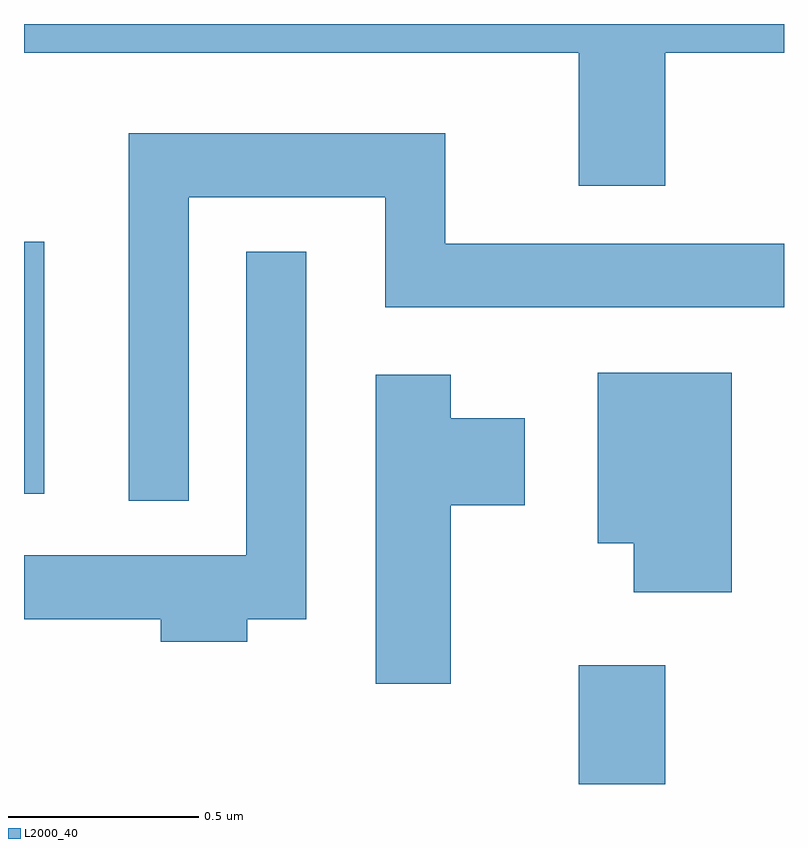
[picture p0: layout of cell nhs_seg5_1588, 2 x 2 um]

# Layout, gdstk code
import gdstk
lib = gdstk.Library(unit=1e-6, precision=1e-09)
def R(c, l, rs):  # rectangles x0, y0, x1, y1
    for r in rs: c.add(gdstk.rectangle(r[:2], r[2:], *l))
def P(c, l, *ps):  # polygons
    for p in ps: c.add(gdstk.Polygon(p, *l))
L2000_40 = (2000, 40)

nhs_seg5_1588 = lib.new_cell('nhs_seg5_1588')
R(nhs_seg5_1588, L2000_40, [(198.071,1477.072,198.299,1477.384), (196.611,1477.836,196.664,1478.499)])
P(nhs_seg5_1588, L2000_40, [(198.299,1478.996),(198.611,1478.996),(198.611,1479.072),(196.611,1479.072),(196.611,1478.996),(198.071,1478.996),(198.071,1478.646),(198.299,1478.646)],
  [(197.044,1478.616),(197.561,1478.616),(197.561,1478.326),(198.611,1478.326),(198.611,1478.494),(197.719,1478.494),(197.719,1478.784),(196.886,1478.784),(196.886,1477.818),(197.044,1477.818)],
  [(197.199,1477.506),(197.354,1477.506),(197.354,1478.473),(197.196,1478.473),(197.196,1477.674),(196.611,1477.674),(196.611,1477.506),(196.971,1477.506),(196.971,1477.446),(197.199,1477.446)],
  [(198.474,1478.154),(198.121,1478.154),(198.121,1477.706),(198.216,1477.706),(198.216,1477.576),(198.474,1477.576)],
  [(197.734,1477.806),(197.929,1477.806),(197.929,1478.034),(197.734,1478.034),(197.734,1478.149),(197.536,1478.149),(197.536,1477.336),(197.734,1477.336)])

lib.write_gds('nhs_seg5_1588.gds')
